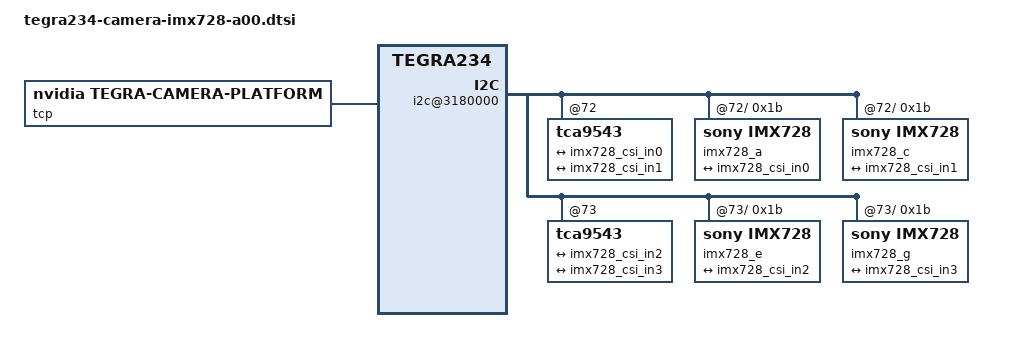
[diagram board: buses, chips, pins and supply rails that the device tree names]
/*
 * Copyright (c) 2018-2021, NVIDIA CORPORATION.  All rights reserved.
 *
 * This program is free software; you can redistribute it and/or modify it
 * under the terms and conditions of the GNU General Public License,
 * version 2, as published by the Free Software Foundation.
 *
 * This program is distributed in the hope it will be useful, but WITHOUT
 * ANY WARRANTY; without even the implied warranty of MERCHANTABILITY or
 * FITNESS FOR A PARTICULAR PURPOSE.  See the GNU General Public License for
 * more details.
 *
 * You should have received a copy of the GNU General Public License
 * along with this program.  If not, see <http://www.gnu.org/licenses/>.
 */
//#include <./tegra234-otocam-camera-all-mode.dtsi>
/ {
	tegra-capture-vi {
		num-channels = <4>;
		ports {
			#address-cells = <1>;
			#size-cells = <0>;
			port@0 {
				reg = <0>;
				imx728_vi_in0: endpoint {
					vc-id = <0>;
					port-index = <0>;
					bus-width = <4>;
					remote-endpoint = <&imx728_csi_out0>;
				};
			};
			port@1 {
				reg = <1>;
				imx728_vi_in1: endpoint {
					vc-id = <0>;
					port-index = <2>;
					bus-width = <4>;
					remote-endpoint = <&imx728_csi_out1>;
				};
			};
			port@2 {
					reg = <2>;
					imx728_vi_in2: endpoint {
					vc-id = <0>;
					port-index = <4>;
					bus-width = <4>;
					remote-endpoint = <&imx728_csi_out2>;
					};
				};
				port@3 {
					reg = <3>;
					imx728_vi_in3: endpoint {
						vc-id = <0>;
						port-index = <5>;
						bus-width = <4>;
						remote-endpoint = <&imx728_csi_out3>;
					};
				};

		};
	};

	host1x@13e00000 {
		nvcsi@15a00000 {
			num-channels = <4>;
			#address-cells = <1>;
			#size-cells = <0>;
			channel@0 {
				reg = <0>;
				ports {
					#address-cells = <1>;
					#size-cells = <0>;
					port@0 {
						reg = <0>;
						imx728_csi_in0: endpoint@0 {
							port-index = <0>;
							bus-width = <4>;
							remote-endpoint = <&imx728_out0>;
						};
					};
					port@1 {
						reg = <1>;
						imx728_csi_out0: endpoint@1 {
							remote-endpoint = <&imx728_vi_in0>;
						};
					};
				};
			};
			channel@1 {
				reg = <1>;
				ports {
					#address-cells = <1>;
					#size-cells = <0>;
					port@0 {
						reg = <0>;
						imx728_csi_in1: endpoint@2 {
							port-index = <2>;
							bus-width = <4>;
							remote-endpoint = <&imx728_out1>;
						};
					};
					port@1 {
						reg = <1>;
						imx728_csi_out1: endpoint@3 {
							remote-endpoint = <&imx728_vi_in1>;
						};
					};
				};
			};
			channel@2 {
				reg = <2>;
				ports {
					#address-cells = <1>;
					#size-cells = <0>;
					port@0 {
						reg = <0>;
						imx728_csi_in2: endpoint@4 {
							port-index = <4>;
							bus-width = <4>;
							remote-endpoint = <&imx728_out2>;
						};
					};
					port@1 {
						reg = <1>;
						imx728_csi_out2: endpoint@5 {
							remote-endpoint = <&imx728_vi_in2>;
						};
					};
				};
			};
			channel@3 {
				reg = <3>;
				ports {
					#address-cells = <1>;
					#size-cells = <0>;
					port@0 {
						reg = <0>;
						imx728_csi_in3: endpoint@6 {
							port-index = <6>;
							bus-width = <4>;
							remote-endpoint = <&imx728_out3>;
						};
					};
					port@1 {
						reg = <1>;
						imx728_csi_out3: endpoint@7 {
							remote-endpoint = <&imx728_vi_in3>;
						};
					};
				};
			};

		};
	};

	i2c@3180000 {
		tca9543@72 {
			i2c@0 {
			imx728_a@1b {
				compatible = "sony,imx728";
				reg = <0x1b>;
				devnode = "video0";
				reg_mux = <0>;
				/* Physical dimensions of sensor */
				physical_w = "15.0";
				physical_h = "12.5";

				sensor_model ="imx728";

				/* Defines number of frames to be dropped by driver internally after applying */
				/* sensor crop settings. Some sensors send corrupt frames after applying */
				/* crop co-ordinates */
				post_crop_frame_drop = "0";

				/* Convert Gain to unit of dB (decibel) befor passing to kernel driver */
				//use_decibel_gain = "true";	// FIX:?

				/* enable CID_SENSOR_MODE_ID for sensor modes selection */
				use_sensor_mode_id = "true";
				mode0 {
					mclk_khz = "24000";
					tegra_sinterface = "serial_a";
					vc_id = "0";
					num_lanes = "4";
					discontinuous_clk = "no";
					dpcm_enable = "false";
					cil_settletime = "0";
					dynamic_pixel_bit_depth = "10";
					csi_pixel_bit_depth = "10";
					mode_type = "bayer";
					pixel_phase = "rggb";

					active_w = "3840";
					active_h = "2160";
					readout_orientation = "90";
					line_length = "4000";
					inherent_gain = "1";
					mclk_multiplier = "4.27";
					pix_clk_hz = "300000000";
					serdes_pix_clk_hz = "520000000";

					gain_factor = "10";
					min_gain_val = "30"; /* dB */
					max_gain_val = "110"; /* dB */
					step_gain_val = "1"; /* 0.1 */
					default_gain = "30";
					min_hdr_ratio = "1";
					max_hdr_ratio = "1";
					framerate_factor = "1000000";
					min_framerate = "5000000";
					max_framerate = "120000000";
					step_framerate = "1";
					default_framerate = "30000000";
					exposure_factor = "1000000";
					min_exp_time = "28"; /* us */
					max_exp_time = "10000";
					step_exp_time = "1";
					default_exp_time = "1000";/* us */
					embedded_metadata_height = "0";
					
				};
				ports {
					#address-cells = <1>;
					#size-cells = <0>;
					port@0 {
						reg = <0>;
						imx728_out0: endpoint {
							vc-id = <0>;
							port-index = <0>;
							bus-width = <4>;
							remote-endpoint = <&imx728_csi_in0>;
						};
					};
				};
				gmsl-link {
					src-csi-port = "b";
					dst-csi-port = "a";
					serdes-csi-link = "a";
					csi-mode = "1x4";
					st-vc = <0>;
					vc-id = <0>;
					num-lanes = <4>;
					streams = "ued-u1", "raw12";	// FIX:-
				};
			};

		};
		i2c@1 {
			imx728_c@1b {
				compatible = "sony,imx728";

				reg = <0x1b>;
				devnode = "video1";
				reg_mux = <1>;
				
				/* Physical dimensions of sensor */
				physical_w = "15.0";
				physical_h = "12.5";

				sensor_model ="imx728";

				/* Defines number of frames to be dropped by driver internally after applying */
				/* sensor crop settings. Some sensors send corrupt frames after applying */
				/* crop co-ordinates */
				post_crop_frame_drop = "0";

				/* Convert Gain to unit of dB (decibel) befor passing to kernel driver */
				//use_decibel_gain = "true";	// FIX:?

				/* enable CID_SENSOR_MODE_ID for sensor modes selection */
				use_sensor_mode_id = "true";
				mode0 {
					mclk_khz = "24000";
					tegra_sinterface = "serial_c";
					vc_id = "0";
					num_lanes = "4";
					discontinuous_clk = "no";
					dpcm_enable = "false";
					cil_settletime = "0";
					dynamic_pixel_bit_depth = "10";
					csi_pixel_bit_depth = "10";
					mode_type = "bayer";
					pixel_phase = "rggb";

					active_w = "3840";
					active_h = "2160";
					readout_orientation = "90";
					line_length = "4000";
					inherent_gain = "1";
					mclk_multiplier = "4.27";
					pix_clk_hz = "300000000";
					serdes_pix_clk_hz = "520000000";

					gain_factor = "10";
					min_gain_val = "30"; /* dB */
					max_gain_val = "110"; /* dB */
					step_gain_val = "1"; /* 0.1 */
					default_gain = "30";
					min_hdr_ratio = "1";
					max_hdr_ratio = "1";
					framerate_factor = "1000000";
					min_framerate = "5000000";
					max_framerate = "120000000";
					step_framerate = "1";
					default_framerate = "30000000";
					exposure_factor = "1000000";
					min_exp_time = "28"; /* us */
					max_exp_time = "10000";
					step_exp_time = "1";
					default_exp_time = "1000";/* us */
					embedded_metadata_height = "0";
					
				};
				ports {
					#address-cells = <1>;
					#size-cells = <0>;
					port@0 {
						reg = <0>;
						imx728_out1: endpoint {
							vc-id = <0>;
							port-index = <2>;
							bus-width = <4>;
							remote-endpoint = <&imx728_csi_in1>;
						};
					};
				};
				gmsl-link {
					src-csi-port = "b";
					dst-csi-port = "a";
					serdes-csi-link = "a";
					csi-mode = "1x4";
					st-vc = <0>;
					vc-id = <0>;
					num-lanes = <4>;
					streams = "ued-u1", "raw12";
				};
			};
		};
	};

		tca9543@73{
			i2c@0 {
			imx728_e@1b {
				compatible = "sony,imx728";

				reg = <0x1b>;
				devnode = "video2";
				reg_mux = <2>;
				/* Physical dimensions of sensor */
				physical_w = "15.0";
				physical_h = "12.5";

				sensor_model ="imx728";

				/* Defines number of frames to be dropped by driver internally after applying */
				/* sensor crop settings. Some sensors send corrupt frames after applying */
				/* crop co-ordinates */
				post_crop_frame_drop = "0";

				/* Convert Gain to unit of dB (decibel) befor passing to kernel driver */
				//use_decibel_gain = "true";	// FIX:?

				/* enable CID_SENSOR_MODE_ID for sensor modes selection */
				use_sensor_mode_id = "true";
				mode0 {
					mclk_khz = "24000";
					tegra_sinterface = "serial_e";
					vc_id = "0";
					num_lanes = "4";
					discontinuous_clk = "no";
					dpcm_enable = "false";
					cil_settletime = "0";
					dynamic_pixel_bit_depth = "10";
					csi_pixel_bit_depth = "10";
					mode_type = "bayer";
					pixel_phase = "rggb";

					active_w = "3840";
					active_h = "2160";
					readout_orientation = "90";
					line_length = "4000";
					inherent_gain = "1";
					mclk_multiplier = "4.27";
					pix_clk_hz = "300000000";
					serdes_pix_clk_hz = "520000000";

					gain_factor = "10";
					min_gain_val = "30"; /* dB */
					max_gain_val = "110"; /* dB */
					step_gain_val = "1"; /* 0.1 */
					default_gain = "30";
					min_hdr_ratio = "1";
					max_hdr_ratio = "1";
					framerate_factor = "1000000";
					min_framerate = "5000000";
					max_framerate = "120000000";
					step_framerate = "1";
					default_framerate = "30000000";
					exposure_factor = "1000000";
					min_exp_time = "28"; /* us */
					max_exp_time = "10000";
					step_exp_time = "1";
					default_exp_time = "1000";/* us */
					embedded_metadata_height = "0";
					
				};
				ports {
					#address-cells = <1>;
					#size-cells = <0>;
					port@0 {
						reg = <0>;
						imx728_out2: endpoint {
							vc-id = <0>;
							port-index = <4>;
							bus-width = <4>;
							remote-endpoint = <&imx728_csi_in2>;
						};
					};
				};
				gmsl-link {
					src-csi-port = "b";
					dst-csi-port = "a";
					serdes-csi-link = "a";
					csi-mode = "1x4";
					st-vc = <0>;
					vc-id = <0>;
					num-lanes = <4>;
					streams = "ued-u1", "raw12";
				};
			};
			

			};
			
			i2c@1 {
			imx728_g@1b {
				compatible = "sony,imx728";

				reg = <0x1b>;
				devnode = "video3";
				reg_mux = <3>;
				
				/* Physical dimensions of sensor */
				physical_w = "15.0";
				physical_h = "12.5";

				sensor_model ="imx728";

				/* Defines number of frames to be dropped by driver internally after applying */
				/* sensor crop settings. Some sensors send corrupt frames after applying */
				/* crop co-ordinates */
				post_crop_frame_drop = "0";

				/* Convert Gain to unit of dB (decibel) befor passing to kernel driver */
				//use_decibel_gain = "true";	// FIX:?

				/* enable CID_SENSOR_MODE_ID for sensor modes selection */
				use_sensor_mode_id = "true";
				mode0 {
					mclk_khz = "24000";
					tegra_sinterface = "serial_g";
					vc_id = "0";
					num_lanes = "4";
					discontinuous_clk = "no";
					dpcm_enable = "false";
					cil_settletime = "0";
					dynamic_pixel_bit_depth = "10";
					csi_pixel_bit_depth = "10";
					mode_type = "bayer";
					pixel_phase = "rggb";

					active_w = "3840";
					active_h = "2160";
					readout_orientation = "90";
					line_length = "4000";
					inherent_gain = "1";
					mclk_multiplier = "4.27";
					pix_clk_hz = "300000000";
					serdes_pix_clk_hz = "520000000";

					gain_factor = "10";
					min_gain_val = "30"; /* dB */
					max_gain_val = "110"; /* dB */
					step_gain_val = "1"; /* 0.1 */
					default_gain = "30";
					min_hdr_ratio = "1";
					max_hdr_ratio = "1";
					framerate_factor = "1000000";
					min_framerate = "5000000";
					max_framerate = "120000000";
					step_framerate = "1";
					default_framerate = "30000000";
					exposure_factor = "1000000";
					min_exp_time = "28"; /* us */
					max_exp_time = "10000";
					step_exp_time = "1";
					default_exp_time = "1000";/* us */
					embedded_metadata_height = "0";
					
				};
				ports {
					#address-cells = <1>;
					#size-cells = <0>;
					port@0 {
						reg = <0>;
						imx728_out3: endpoint {
							vc-id = <0>;
							port-index = <6>;
							bus-width = <4>;
							remote-endpoint = <&imx728_csi_in3>;
						};
					};
				};
				gmsl-link {
					src-csi-port = "b";
					dst-csi-port = "a";
					serdes-csi-link = "a";
					csi-mode = "1x4";
					st-vc = <0>;
					vc-id = <0>;
					num-lanes = <4>;
					streams = "ued-u1", "raw12";
				};
			};
			

		};
	};
};


};

/ {

	tcp: tegra-camera-platform {
		compatible = "nvidia, tegra-camera-platform";
		/**
		* Physical settings to calculate max ISO BW
		*
		* num_csi_lanes = <>;
		* Total number of CSI lanes when all cameras are active
		*
		* max_lane_speed = <>;
		* Max lane speed in Kbit/s
		*
		* min_bits_per_pixel = <>;
		* Min bits per pixel
		*
		* vi_peak_byte_per_pixel = <>;
		* Max byte per pixel for the VI ISO case
		*
		* vi_bw_margin_pct = <>;
		* Vi bandwidth margin in percentage
		*
		* max_pixel_rate = <>;
		* Max pixel rate in Kpixel/s for the ISP ISO case
		*
		* isp_peak_byte_per_pixel = <>;
		* Max byte per pixel for the ISP ISO case
		*
		* isp_bw_margin_pct = <>;
		* Isp bandwidth margin in percentage
		*/
		num_csi_lanes = <16>;
//#ifdef CAM_SERDES_GMSL)
		max_lane_speed = <1500000>;
//#else	// CAM_SERDES_FPDL
//		max_lane_speed = <1500000>;	// FIX:?
//#endif
		min_bits_per_pixel = <10>;	// FIX:* 10
		vi_peak_byte_per_pixel = <2>;
		vi_bw_margin_pct = <25>;
		//max_pixel_rate = <7500000>;	// FIX:? 160|200|300|750
		isp_peak_byte_per_pixel = <5>;
		isp_bw_margin_pct = <25>;

		/**
		 * The general guideline for naming badge_info contains 3 parts, and is as follows,
		 * The first part is the camera_board_id for the module; if the module is in a FFD
		 * platform, then use the platform name for this part.
		 * The second part contains the position of the module, ex. "rear" or "front".
		 * The third part contains the last 6 characters of a part number which is found
		 * in the module's specsheet from the vender.
		 */
		modules {
			module0 {
				badge = "imx728_rear";
				position = "rear";
				orientation = "1";
				drivernode0 {
					/* Declare PCL support driver (classically known as guid)  */
					pcl_id = "v4l2_sensor";
					/* Driver v4l2 device name */
					devname = "imx728 30-001b";
					/* Declare the device-tree hierarchy to driver instance */
					proc-device-tree = "/proc/device-tree/i2c@3180000/tca9543@72/i2c@0/imx728_a@1b";
				};
			};
			module1 {
				badge = "imx728_front";
				position = "front";
				orientation = "1";
				drivernode0 {
					/* Declare PCL support driver (classically known as guid)  */
					pcl_id = "v4l2_sensor";
					/* Driver v4l2 device name */
					devname = "imx728 31-001b";
					/* Declare the device-tree hierarchy to driver instance */
					proc-device-tree = "/proc/device-tree/i2c@3180000/tca9543@72/i2c@1/imx728_c@1b";
				};
			};
			module2 {
				badge = "imx728_left";
				position = "topright";	// topleft
				orientation = "1";
				drivernode0 {
					/* Declare PCL support driver (classically known as guid)  */
					pcl_id = "v4l2_sensor";
					/* Driver v4l2 device name */
					devname = "imx728 32-001b";
					/* Declare the device-tree hierarchy to driver instance */
					proc-device-tree = "/proc/device-tree/i2c@3180000/tca9543@73/i2c@0/imx728_e@1b";
				};
			};
			module3 {
				badge = "imx728_right";
				position = "bottomright";	// topright
				orientation = "1";
				drivernode0 {
					/* Declare PCL support driver (classically known as guid)  */
					pcl_id = "v4l2_sensor";
					/* Driver v4l2 device name */
					devname = "imx728 33-001b";
					/* Declare the device-tree hierarchy to driver instance */
					proc-device-tree = "/proc/device-tree/i2c@3180000/tca9543@73/i2c@1/imx728_g@1b";
				};
			};

		};
	};
};

